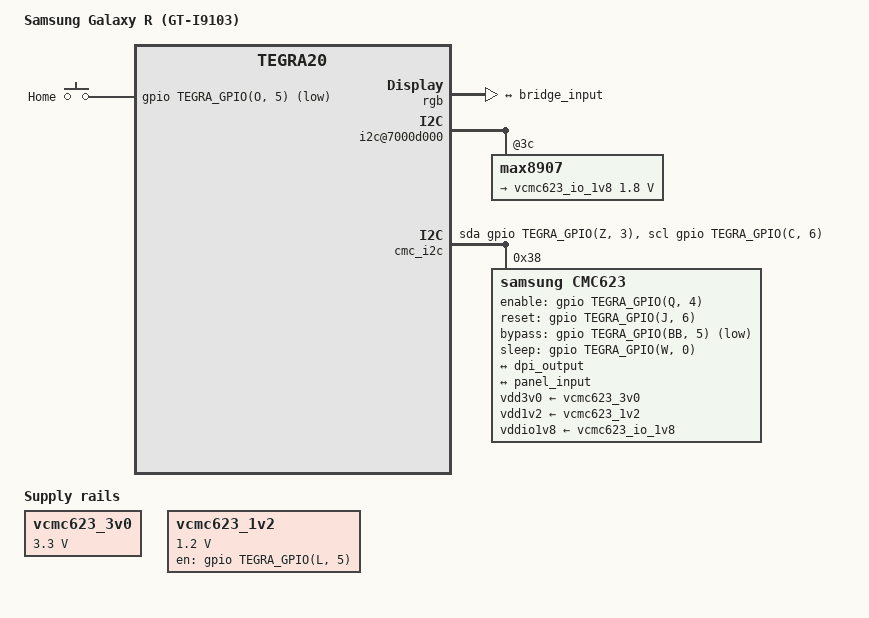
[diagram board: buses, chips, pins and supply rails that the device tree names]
// SPDX-License-Identifier: GPL-2.0
/dts-v1/;

#include "tegra20-samsung-n1-common.dtsi"

/ {
	model = "Samsung Galaxy R (GT-I9103)";
	compatible = "samsung,n1", "nvidia,tegra20";

	aliases {
		i2c10 = &cmc_i2c;
		spi0 = &panel_spi;
	};

	host1x@50000000 {
		dc@54200000 {
			rgb {
				status = "okay";

				port {
					dpi_output: endpoint {
						remote-endpoint = <&bridge_input>;
						bus-width = <24>;
					};
				};
			};
		};
	};

	pinmux@70000014 {
		pinctrl-names = "default";
		pinctrl-0 = <&state_default>;

		state_default: pinmux {
			conf-dtf {
				nvidia,pins = "dtf", "spdi", "spih";
				nvidia,pull = <TEGRA_PIN_PULL_NONE>;
				nvidia,tristate = <TEGRA_PIN_DISABLE>;
			};

			conf-gpv {
				nvidia,pins = "gpv", "spib";
				nvidia,pull = <TEGRA_PIN_PULL_DOWN>;
				nvidia,tristate = <TEGRA_PIN_DISABLE>;
			};

			conf-kbcd {
				nvidia,pins = "kbcd";
				nvidia,pull = <TEGRA_PIN_PULL_UP>;
				nvidia,tristate = <TEGRA_PIN_DISABLE>;
			};
		};
	};

	i2c@7000d000 {
		max8907@3c {
			regulators {
				vcmc623_io_1v8: ldo15 {
					regulator-name = "vcmc623_io_1v8";
					regulator-min-microvolt = <1800000>;
					regulator-max-microvolt = <1800000>;
				};
			};
		};
	};

	cmc_i2c: i2c-10 {
		compatible = "i2c-gpio";

		sda-gpios = <&gpio TEGRA_GPIO(Z, 3) GPIO_ACTIVE_HIGH>;
		scl-gpios = <&gpio TEGRA_GPIO(C, 6) GPIO_ACTIVE_HIGH>;

		i2c-gpio,scl-output-only;
		i2c-gpio,delay-us = <1>;

		#address-cells = <1>;
		#size-cells = <0>;

		cmc623: bridge@38 {
			compatible = "samsung,cmc623";
			reg = <0x38>;

			enable-gpios = <&gpio TEGRA_GPIO(Q, 4) GPIO_ACTIVE_HIGH>;
			reset-gpios = <&gpio TEGRA_GPIO(J, 6) GPIO_ACTIVE_HIGH>;

			bypass-gpios = <&gpio TEGRA_GPIO(BB, 5) GPIO_ACTIVE_LOW>;
			sleep-gpios = <&gpio TEGRA_GPIO(W, 0) GPIO_ACTIVE_HIGH>;

			vdd3v0-supply = <&vcmc623_3v0>;
			vdd1v2-supply = <&vcmc623_1v2>;
			vddio1v8-supply = <&vcmc623_io_1v8>;

			cmc623_backlight: backlight {
				compatible = "samsung,cmc623-backlight";

				enable-gpios = <&gpio TEGRA_GPIO(R, 3) GPIO_ACTIVE_HIGH>;
			};

			ports {
				#address-cells = <1>;
				#size-cells = <0>;

				port@0 {
					reg = <0>;

					bridge_input: endpoint {
						remote-endpoint = <&dpi_output>;
					};
				};

				port@1 {
					reg = <1>;

					bridge_output: endpoint {
						remote-endpoint = <&panel_input>;
					};
				};
			};
		};
	};

	panel_spi: spi@7000d800 {
		status = "okay";
		spi-max-frequency = <1000000>;

		panel: panel@2 {
			/* 480x800 TFT LCD panel */
			compatible = "sony,l4f00430t01";
			reg = <2>;

			spi-max-frequency = <1000000>;

			spi-cpol;
			spi-cpha;

			reset-gpios = <&gpio TEGRA_GPIO(C, 1) GPIO_ACTIVE_LOW>;

			vdd1v8-supply = <&vlcd_1v8_reg>;
			vdd3v0-supply = <&vlcd_3v0_reg>;

			panel-width-mm = <55>;
			panel-height-mm = <91>;

			backlight = <&cmc623_backlight>;

			port {
				panel_input: endpoint {
					remote-endpoint = <&bridge_output>;
				};
			};
		};
	};

	sdhci@c8000400 {
		/* battery blocks the sdcard slot and the device lacks CD pin */
		non-removable;
	};

	gpio-keys {
		compatible = "gpio-keys";

		key-home {
			label = "Home";
			gpios = <&gpio TEGRA_GPIO(O, 5) GPIO_ACTIVE_LOW>;
			linux,code = <KEY_ENTER>;
		};
	};

	vcmc623_3v0: regulator-cmc623-3v0 {
		compatible = "regulator-fixed";
		regulator-name = "vcmc623_3v0";
		regulator-min-microvolt = <3300000>;
		regulator-max-microvolt = <3300000>;
	};

	vcmc623_1v2: regulator-cmc623-1v2 {
		compatible = "regulator-fixed";
		regulator-name = "vcmc623_1v2";
		regulator-min-microvolt = <1200000>;
		regulator-max-microvolt = <1200000>;
		gpio = <&gpio TEGRA_GPIO(L, 5) GPIO_ACTIVE_HIGH>;
		enable-active-high;
	};
};
